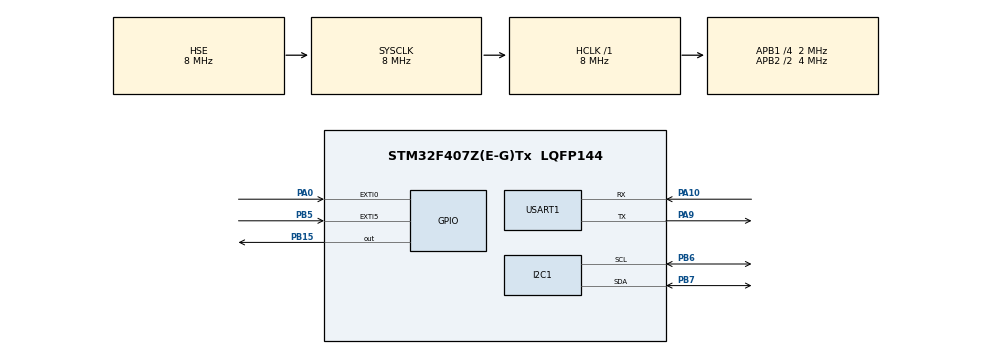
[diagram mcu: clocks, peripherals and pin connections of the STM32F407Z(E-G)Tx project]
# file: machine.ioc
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Dma.I2C1_RX.1.Direction=DMA_PERIPH_TO_MEMORY
Dma.I2C1_RX.1.FIFOMode=DMA_FIFOMODE_DISABLE
Dma.I2C1_RX.1.Instance=DMA1_Stream0
Dma.I2C1_RX.1.MemDataAlignment=DMA_MDATAALIGN_BYTE
Dma.I2C1_RX.1.MemInc=DMA_MINC_ENABLE
Dma.I2C1_RX.1.Mode=DMA_NORMAL
Dma.I2C1_RX.1.PeriphDataAlignment=DMA_PDATAALIGN_BYTE
Dma.I2C1_RX.1.PeriphInc=DMA_PINC_DISABLE
Dma.I2C1_RX.1.Priority=DMA_PRIORITY_LOW
Dma.I2C1_TX.0.Direction=DMA_MEMORY_TO_PERIPH
Dma.I2C1_TX.0.FIFOMode=DMA_FIFOMODE_DISABLE
Dma.I2C1_TX.0.Instance=DMA1_Stream6
Dma.I2C1_TX.0.MemDataAlignment=DMA_MDATAALIGN_BYTE
Dma.I2C1_TX.0.MemInc=DMA_MINC_ENABLE
Dma.I2C1_TX.0.Mode=DMA_NORMAL
Dma.I2C1_TX.0.PeriphDataAlignment=DMA_PDATAALIGN_BYTE
Dma.I2C1_TX.0.PeriphInc=DMA_PINC_DISABLE
Dma.I2C1_TX.0.Priority=DMA_PRIORITY_LOW
Dma.Request0=I2C1_TX
Dma.Request1=I2C1_RX
Mcu.Family=STM32F4
Mcu.Name=STM32F407Z(E-G)Tx
Mcu.Package=LQFP144
NVIC.DMA1_Stream0_IRQn=true\:0\:0\:false\:false\:true\:false\:true\:true
NVIC.DMA1_Stream6_IRQn=true\:0\:0\:false\:false\:true\:false\:true\:true
NVIC.EXTI0_IRQn=true\:0\:0\:false\:false\:true\:true\:true\:true
NVIC.EXTI9_5_IRQn=true\:0\:0\:false\:false\:true\:true\:true\:true
NVIC.PriorityGroup=NVIC_PRIORITYGROUP_4
PA0-WKUP.GPIO_PuPd=GPIO_PULLDOWN
PA0-WKUP.Signal=GPXTI0
PA10.Mode=Asynchronous
PA10.Signal=USART1_RX
PA13.Mode=Serial_Wire
PA13.Signal=SYS_JTMS-SWDIO
PA14.Mode=Serial_Wire
PA14.Signal=SYS_JTCK-SWCLK
PA9.Mode=Asynchronous
PA9.Signal=USART1_TX
PB15.GPIO_ModeDefaultOutputPP=GPIO_MODE_OUTPUT_PP
PB15.GPIO_PuPd=GPIO_PULLDOWN
PB15.Signal=GPIO_Output
PB5.GPIO_PuPd=GPIO_PULLUP
PB5.Signal=GPXTI5
PB6.Mode=I2C
PB6.Signal=I2C1_SCL
PB7.Mode=I2C
PB7.Signal=I2C1_SDA
PH0-OSC_IN.Mode=HSE-External-Oscillator
PH0-OSC_IN.Signal=RCC_OSC_IN
PH1-OSC_OUT.Mode=HSE-External-Oscillator
PH1-OSC_OUT.Signal=RCC_OSC_OUT
ProjectManager.HeapSize=0x200
ProjectManager.StackSize=0x400
ProjectManager.TargetToolchain=MDK-ARM V5.32
RCC.48MHZClocksFreq_Value=84000000
RCC.AHBFreq_Value=8000000
RCC.APB1CLKDivider=RCC_HCLK_DIV4
RCC.APB1Freq_Value=2000000
RCC.APB1TimFreq_Value=4000000
RCC.APB2CLKDivider=RCC_HCLK_DIV2
RCC.APB2Freq_Value=4000000
RCC.APB2TimFreq_Value=8000000
RCC.CortexFreq_Value=8000000
RCC.HCLKFreq_Value=8000000
RCC.HSE_VALUE=8000000
RCC.HSI_VALUE=16000000
RCC.LSE_VALUE=32768
RCC.PLLM=8
RCC.PLLN=336
RCC.PLLSourceVirtual=RCC_PLLSOURCE_HSE
RCC.SYSCLKFreq_VALUE=8000000
RCC.SYSCLKSource=RCC_SYSCLKSOURCE_HSE
RCC.VCOOutputFreq_Value=336000000
USART1.VirtualMode=VM_ASYNC
board=custom

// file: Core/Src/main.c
/* USER CODE BEGIN Header */
/**
  ******************************************************************************
  * @file           : main.c
  * @brief          : 主程序
  *   整体流程：MPU6050 每 10ms 数据就绪 -> INT(PB5) 产生上升沿
  *             -> EXTI 中断里仅做计数(ready_cnt++)，不碰 I2C
  *             -> 主循环检测到就绪且 I2C 空闲 -> 启动一次 DMA 突发读(14字节)
  *             -> DMA 硬件搬完数据 -> 完成回调置 dma_done
  *             -> 主循环解析数据、零偏校准、互补滤波、解算姿态角
  *             -> USART1 按 FireWater 协议发往 VOFA+ 显示
  *   硬件：I2C1 PB6=SCL / PB7=SDA；INT=PB5；KEY_UP=PA0；指示灯=PB15
  ******************************************************************************
  */
/* USER CODE END Header */
#include "main.h"
#include "dma.h"
#include "i2c.h"
#include "usart.h"
#include "gpio.h"

/* USER CODE BEGIN Includes */
#include <stdio.h>
#include <stdint.h>
#include <math.h>
#include "mpu6050.h"
/* USER CODE END Includes */

/* USER CODE BEGIN PD */
#define MAX_READY_CNT 8U   /* 数据就绪计数上限：防止干扰脉冲把计数冲爆导致读数混乱 */
/* USER CODE END PD */

/* USER CODE BEGIN PV */
/* ---- 原始寄存器数据（有符号16位）与物理量 ---- */
int16_t ax, ay, az;             /* 加速度三轴原始值 */
int16_t gx, gy, gz;             /* 陀螺仪三轴原始值 */
float a_gx, a_gy, a_gz;         /* 加速度物理量，单位 g */
float g_dx, g_dy, g_dz;         /* 角速度物理量，单位 °/s */

/* ---- 零偏校准状态机相关 ---- */
uint8_t calibrate_state = 0;    /* 校准状态：0=正常运行 1=等待3s 2=采样5s */
uint32_t calibrate_tick_start = 0; /* 校准各阶段起始时刻(HAL_GetTick) */
uint8_t calibrate_flag = 0;     /* 校准触发标志：按键置1，主循环检测后进入状态机 */
volatile uint8_t key_int_flag = 0;   /* 按键中断标记：ISR写、主循环读，必须volatile */

/* ---- 数据就绪中断相关 ---- */
volatile uint8_t ready_cnt = 0;      /* 就绪计数：ISR写、主循环读写，必须volatile */
uint8_t mpu_init_ret = 0;            /* MPU6050_Init()返回值，用于串口诊断 */

/* ---- 陀螺仪零偏（静止时的平均角速度）---- */
float offset_gx = 0.0f;
float offset_gy = 0.0f;
float offset_gz = 0.0f;

/* ---- 最终姿态角，单位 度 ---- */
float roll  = 0.0f;            /* 横滚 */
float pitch = 0.0f;            /* 俯仰 */
float yaw   = 0.0f;            /* 偏航 */

uint32_t last_sample_tick = 0;       /* 上一帧采样时刻，用来算真实积分间隔 dt */

/* ---- I2C + DMA 相关 ---- */
uint8_t mpu_dma_buf[MPU6050_RAW_BUF_LEN];  /* DMA接收缓冲：加速度6+温度2+陀螺6=14字节 */
volatile uint8_t dma_busy = 0;             /* DMA传输进行中标志：为1时不再启动新传输 */
volatile uint8_t dma_done = 0;             /* DMA完成标志：回调置1，主循环据此解析数据 */

/* ---- 加速度计算出的姿态角（互补滤波的参考）---- */
float acc_roll  = 0.0f;
float acc_pitch = 0.0f;
/* USER CODE END PV */

void SystemClock_Config(void);
/* USER CODE BEGIN PFP */
/* 重定向 printf 到 USART1：VOFA 与调试信息都靠它发送 */
int fputc(int ch, FILE *f)
{
  HAL_UART_Transmit(&huart1, (uint8_t *)&ch, 1, 0xFFFF);
  return ch;
}
/* USER CODE END PFP */

int main(void)
{

  /* MCU Configuration--------------------------------------------------------*/

  /* Reset of all peripherals, Initializes the Flash interface and the Systick. */
  HAL_Init();

  /* Configure the system clock */
  SystemClock_Config();

  /* Initialize all configured peripherals */
  /* 注意顺序：DMA 必须在 I2C 之前初始化，否则 I2C 关联的 DMA 句柄未就绪 */
  MX_GPIO_Init();
  MX_DMA_Init();
  MX_I2C1_Init();
  MX_USART1_UART_Init();
  /* USER CODE BEGIN 2 */
  /* 初始化传感器前先关掉 EXTI，避免上电瞬间误触发进入中断 */
  ready_cnt = 0;
  HAL_NVIC_DisableIRQ(EXTI9_5_IRQn);
  __HAL_GPIO_EXTI_CLEAR_IT(GPIO_PIN_5);
  HAL_NVIC_ClearPendingIRQ(EXTI9_5_IRQn);

  mpu_init_ret = MPU6050_Init();   /* 配置量程/采样率/滤波，并使能数据就绪中断 */

  if (mpu_init_ret == 0U)
  {
    printf("MPU6050 init OK (id=0x%02X)\r\n", mpu_whoami_id);

    /* 关键修复：
     * MPU6050 使能数据就绪中断后，INT 引脚在“有数据未读”时保持高电平。
     * 若在 INT 已为高电平时才开上升沿 EXTI，会错过这个上升沿，导致永远
     * 进不了中断 -> ready_cnt 恒为 0 -> 不读数、PB15 不亮。
     * 所以先读一次数据把 INT 拉低，再开上升沿中断。 */
    MPU6050_ReadRawData(&ax, &ay, &az, &gx, &gy, &gz);  /* 阻塞读一次，清掉挂起数据 */

    __HAL_GPIO_EXTI_CLEAR_IT(GPIO_PIN_5);                /* 清 EXTI 挂起标志 */
    HAL_NVIC_ClearPendingIRQ(EXTI9_5_IRQn);              /* 清 NVIC 挂起中断 */
    HAL_NVIC_EnableIRQ(EXTI9_5_IRQn);                    /* 此时 INT 为低，再使能 */
    printf("Data-ready INT enabled\r\n");
  }
  else
  {
    /* I2C 或传感器初始化失败：PB15 常亮提示，串口打印错误码与总线错误码 */
    HAL_GPIO_WritePin(GPIOB, GPIO_PIN_15, GPIO_PIN_SET);
    printf("MPU6050 init FAIL err=%u id=0x%02X ecode=0x%lX\r\n",
           (unsigned)mpu_init_ret, mpu_whoami_id, (unsigned long)hi2c1.ErrorCode);
  }

  last_sample_tick = HAL_GetTick();   /* 记录起始时刻，供首帧计算 dt */
  /* USER CODE END 2 */

  /* Infinite loop */
  /* USER CODE BEGIN WHILE */
  while (1)
  {
    /* ===== 分支1：DMA 已把一帧数据搬完，进行解析、校准、解算、发送 ===== */
    if (dma_done)
    {
      uint32_t now_tick;
      float dt;

      dma_done = 0;   /* 先清零完成标志，等待下一帧 */

      /* 解析 DMA 读回的 14 字节（跳过中间温度2字节）为原始加速度/陀螺 */
      MPU6050_ParseRawData(mpu_dma_buf, &ax, &ay, &az, &gx, &gy, &gz);

      /* 用真实采样间隔做积分，而不是写死 0.01s */
      now_tick = HAL_GetTick();
      dt = (float)(now_tick - last_sample_tick) / 1000.0f;
      last_sample_tick = now_tick;
      if (dt <= 0.0f || dt > 0.5f)
      {
        dt = 0.01f; /* 首帧或间隔异常时按 100Hz 兜底 */
      }

      /* 原始值换算为物理量（±2g / ±250°/s）：
       * 加速度 16384 LSB/g；陀螺仪 131 LSB/(°/s) */
      a_gx = ax / 16384.0f;
      a_gy = ay / 16384.0f;
      a_gz = az / 16384.0f;
      g_dx = gx / 131.0f;
      g_dy = gy / 131.0f;
      g_dz = gz / 131.0f;

      /* 按键中断标记处理：中断里只置位，真正响应放到这里 */
      if (key_int_flag == 1)
      {
        key_int_flag = 0;
        calibrate_flag = 1;   /* 通知下面的状态机启动校准 */
      }

      /* ========= 陀螺仪零偏校准状态机 ========= */
      /* 触发：进入等待阶段，同时 yaw 归零 */
      if (calibrate_flag == 1)
      {
        calibrate_flag = 0;
        calibrate_state = 1;
        calibrate_tick_start = HAL_GetTick();
        yaw = 0.0f;
        printf("Gyro Cal Start! Keep board still, wait 3s\r\n");
      }

      /* 阶段1：等待3秒，给用户放稳板子的时间 */
      if (calibrate_state == 1)
      {
        if (HAL_GetTick() - calibrate_tick_start >= 3000U)
        {
          /* 3秒到 -> 进入采样阶段，清零累加器准备采集 */
          calibrate_state = 2;
          calibrate_tick_start = HAL_GetTick();
          offset_gx = 0.0f;
          offset_gy = 0.0f;
          offset_gz = 0.0f;
          printf("Sampling 500 samples, no shaking, 5s\r\n");
        }
      }
      /* 阶段2：5秒内累加各帧角速度，结束后除以500得到平均零偏 */
      else if (calibrate_state == 2)
      {
        uint32_t past = HAL_GetTick() - calibrate_tick_start;
        if (past < 5000U)
        {
          /* 采样中：累加静止时的角速度（理想应为0，实际即零偏）*/
          offset_gx += g_dx;
          offset_gy += g_dy;
          offset_gz += g_dz;
        }
        else
        {
          /* 5秒到：取平均得到零偏，回到正常运行状态 */
          offset_gx /= 500.0f;
          offset_gy /= 500.0f;
          offset_gz /= 500.0f;
          printf("offset_gx=%.2f offset_gy=%.2f offset_gz=%.2f\r\n",
                 offset_gx, offset_gy, offset_gz);
          calibrate_state = 0;
        }
      }

      /* ========== 互补滤波姿态解算（仅正常运行时） ========== */
      if (calibrate_state == 0)
      {
        /* 先减去零偏，得到校准后的角速度 */
        float gx_cal = g_dx - offset_gx;
        float gy_cal = g_dy - offset_gy;
        float gz_cal = g_dz - offset_gz;

        /* 加速度计姿态角（互补滤波参考，长期稳定、不漂移）：
         * 用重力方向反推横滚/俯仰，无 yaw（水平面无法用重力区分）*/
        acc_roll  = atan2f(a_gy, a_gz) * 57.29578f;
        acc_pitch = atan2f(-a_gx, sqrtf(a_gy * a_gy + a_gz * a_gz)) * 57.29578f;

        /* 陀螺仪积分（短期响应快、平滑，但会漂移）：gx->roll, gy->pitch, gz->yaw */
        roll  = roll  + gx_cal * dt;
        pitch = pitch + gy_cal * dt;
        yaw   = yaw   + gz_cal * dt;

        /* 互补滤波：98% 陀螺仪(快、平滑) + 2% 加速度计(稳、不漂)，
         * 兼顾动态响应与长期稳定；yaw 无加速度参考故不做修正 */
        roll  = 0.98f * roll  + 0.02f * acc_roll;
        pitch = 0.98f * pitch + 0.02f * acc_pitch;

        /* VOFA+ FireWater 协议输出 roll,pitch,yaw（单位：度），末尾 \n 作为一帧结束 */
        printf("%.2f,%.2f,%.2f\n", roll, pitch, yaw);
      }
    }
    /* ===== 分支2：有数据就绪且 I2C 空闲，启动一次 DMA 突发读 ===== */
    else if (ready_cnt > 0U && dma_busy == 0U)
    {
      /* 数据就绪且 I2C 空闲：启动 DMA 后 CPU 不等待，数据由硬件搬运 */
      ready_cnt--;
      dma_busy = 1;                       /* 标记占用，防止重复启动 */
      if (MPU6050_StartDMARead(mpu_dma_buf) != HAL_OK)
      {
        dma_busy = 0;   /* 启动失败，下轮就绪会重新尝试 */
      }
    }
    /* USER CODE END WHILE */

  }
}

void SystemClock_Config(void)
{
  RCC_OscInitTypeDef RCC_OscInitStruct = {0};
  RCC_ClkInitTypeDef RCC_ClkInitStruct = {0};

  /** Configure the internal regulator output voltage
  */
  __HAL_RCC_PWR_CLK_ENABLE();
  __HAL_PWR_VOLTAGESCALING_CONFIG(PWR_REGULATOR_VOLTAGE_SCALE1);

  /** Initializes the RCC Oscillators according to the specified parameters
  * in the RCC_OscInitTypeDef structure.
  */
  RCC_OscInitStruct.OscillatorType = RCC_OSCILLATORTYPE_HSE;
  RCC_OscInitStruct.HSEState = RCC_HSE_ON;
  RCC_OscInitStruct.PLL.PLLState = RCC_PLL_NONE;
  if (HAL_RCC_OscConfig(&RCC_OscInitStruct) != HAL_OK)
  {
    Error_Handler();
  }

  /** Initializes the CPU, AHB and APB buses clocks
  */
  RCC_ClkInitStruct.ClockType = RCC_CLOCKTYPE_HCLK|RCC_CLOCKTYPE_SYSCLK
                              |RCC_CLOCKTYPE_PCLK1|RCC_CLOCKTYPE_PCLK2;
  RCC_ClkInitStruct.SYSCLKSource = RCC_SYSCLKSOURCE_HSE;
  RCC_ClkInitStruct.AHBCLKDivider = RCC_SYSCLK_DIV1;
  RCC_ClkInitStruct.APB1CLKDivider = RCC_HCLK_DIV4;
  RCC_ClkInitStruct.APB2CLKDivider = RCC_HCLK_DIV2;

  if (HAL_RCC_ClockConfig(&RCC_ClkInitStruct, FLASH_LATENCY_0) != HAL_OK)
  {
    Error_Handler();
  }
}

/* USER CODE BEGIN 4 */
/* EXTI 统一回调：EXTI0(PA0按键) 与 EXTI9_5(PB5的MPU就绪) 都会进入这里。
 * 铁律：中断里只做标志/计数，绝不能放 I2C 读写、printf 等慢速阻塞操作。*/
void HAL_GPIO_EXTI_Callback(uint16_t GPIO_Pin)
{
  // PB5：MPU 数据就绪
  if(GPIO_Pin == GPIO_PIN_5)
  {
    HAL_GPIO_TogglePin(GPIOB, GPIO_PIN_15); //翻转PB15：正常时以100Hz快闪，指示中断正常
    if(ready_cnt < MAX_READY_CNT)
    {
      ready_cnt++;                          //就绪计数+1，主循环据此启动DMA
    }
  }
  // PA0：KEY_UP 按键，置位后由主循环处理（真正启动校准）
  if(GPIO_Pin == GPIO_PIN_0)
  {
    key_int_flag = 1;
  }
}

/* I2C DMA 接收完成回调：14字节全部搬完后由 HAL 调用。
 * 只清状态、置标志，数据解析放到主循环做。*/
void HAL_I2C_MemRxCpltCallback(I2C_HandleTypeDef *hi2c)
{
  if (hi2c->Instance == I2C1)
  {
    dma_busy = 0;    /* 传输结束，释放总线 */
    dma_done = 1;    /* 通知主循环：有一帧数据可解析 */
  }
}

/* I2C DMA 接收错误回调：总线异常时调用。
 * 仅释放总线，丢弃本帧，等下一次数据就绪重新启动。*/
void HAL_I2C_MemRxErrorCallback(I2C_HandleTypeDef *hi2c)
{
  if (hi2c->Instance == I2C1)
  {
    dma_busy = 0;   /* 出错放弃本次，下轮数据就绪会重新启动 */
  }
}

/* USER CODE END 4 */

void Error_Handler(void)
{
  __disable_irq();
  while (1)
  {
  }
}
